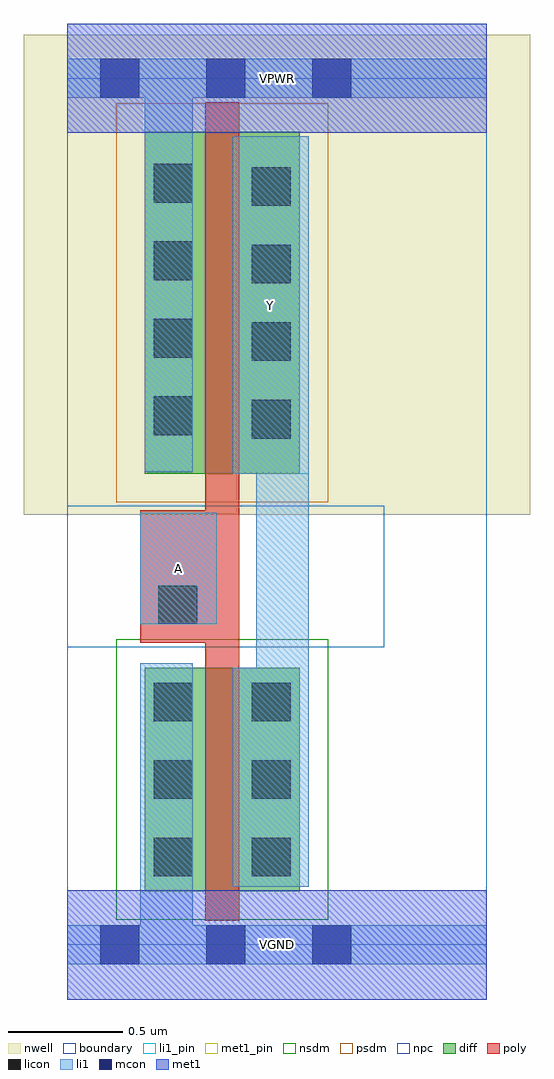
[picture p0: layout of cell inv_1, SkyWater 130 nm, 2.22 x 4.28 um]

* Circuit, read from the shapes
.subckt inv_1 A VGND VPWR Y
XM1 Y A VGND VSUBS sky130_fd_pr__nfet_01v8 w=0.98 l=0.15
XM2 Y A VPWR n1 sky130_fd_pr__pfet_01v8 w=1.5 l=0.15
.ends

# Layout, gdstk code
import gdstk
lib = gdstk.Library(unit=1e-6, precision=1e-09)
def R(c, l, rs):  # rectangles x0, y0, x1, y1
    for r in rs: c.add(gdstk.rectangle(r[:2], r[2:], *l))
def A(c, l, x, y, w, h, nx, ny, dx, dy):  # array of equal rectangles
    R(c, l, [(x+i*dx, y+j*dy, x+i*dx+w, y+j*dy+h) for i in range(nx) for j in range(ny)])
nwell = (64, 20)
diff = (65, 20)
poly = (66, 20)
licon = (66, 44)
li1_pin = (67, 16)
li1 = (67, 20)
mcon = (67, 44)
met1_pin = (68, 16)
met1 = (68, 20)
nsdm = (93, 44)
psdm = (94, 20)
npc = (95, 20)
boundary = (235, 4)

inv_1 = lib.new_cell('inv_1')
R(inv_1, nwell, [(-0.19,1.885,2.03,3.99), (0,1.885,1.84,3.99)])
R(inv_1, diff, [(0.34,0.235,1.02,1.215), (0.34,2.065,1.02,3.565)])
R(inv_1, poly, [(0.605,0.105,0.755,3.695), (0.32,1.325,0.755,1.905)])
A(inv_1, licon, 0.38, 0.3, 0.17, 0.17, 1, 3, 0, 0.34)
A(inv_1, licon, 0.81, 0.3, 0.17, 0.17, 1, 3, 0, 0.34)
A(inv_1, licon, 0.81, 2.22, 0.17, 0.17, 1, 4, 0, 0.34)
A(inv_1, licon, 0.38, 2.235, 0.17, 0.17, 1, 4, 0, 0.34)
R(inv_1, licon, [(0.4,1.405,0.57,1.575)])
R(inv_1, li1_pin, [(0.32,1.405,0.655,1.895), (0.725,2.065,1.06,3.545)])
R(inv_1, li1, [(0,-0.085,1.84,0.085), (0.32,-0.085,0.55,1.235), (0.725,0.255,1.06,1.215), (0.83,0.255,1.06,3.545), (0.32,1.405,0.655,1.895), (0.725,2.065,1.06,3.545), (0.34,2.075,0.55,3.885), (0,3.715,1.84,3.885)])
A(inv_1, mcon, 0.145, -0.085, 0.17, 0.17, 3, 2, 0.465, 3.8)
R(inv_1, met1_pin, [(0,-0.24,1.84,0.24), (0,3.56,1.84,4.04)])
R(inv_1, met1, [(0,-0.24,1.84,0.24), (0,3.56,1.84,4.04)])
R(inv_1, nsdm, [(0.215,0.11,1.145,1.34)])
R(inv_1, psdm, [(0.215,1.94,1.145,3.69)])
R(inv_1, npc, [(0,1.305,1.39,1.925)])
R(inv_1, boundary, [(0,0,1.84,3.8)])
inv_1.add(gdstk.Label('A', (0.487,1.65), layer=67, texttype=5))
inv_1.add(gdstk.Label('Y', (0.892,2.805), layer=67, texttype=5))
inv_1.add(gdstk.Label('VPWR', (0.92,3.8), layer=68, texttype=5))
inv_1.add(gdstk.Label('VGND', (0.92,0), layer=68, texttype=5))
inv_1.add(gdstk.Label('A', (0.487,1.65), layer=67, texttype=16))
inv_1.add(gdstk.Label('Y', (0.892,2.805), layer=67, texttype=16))
inv_1.add(gdstk.Label('VPWR', (0.92,3.8), layer=68, texttype=16))
inv_1.add(gdstk.Label('VGND', (0.92,0), layer=68, texttype=16))

lib.write_gds('inv_1.gds')
